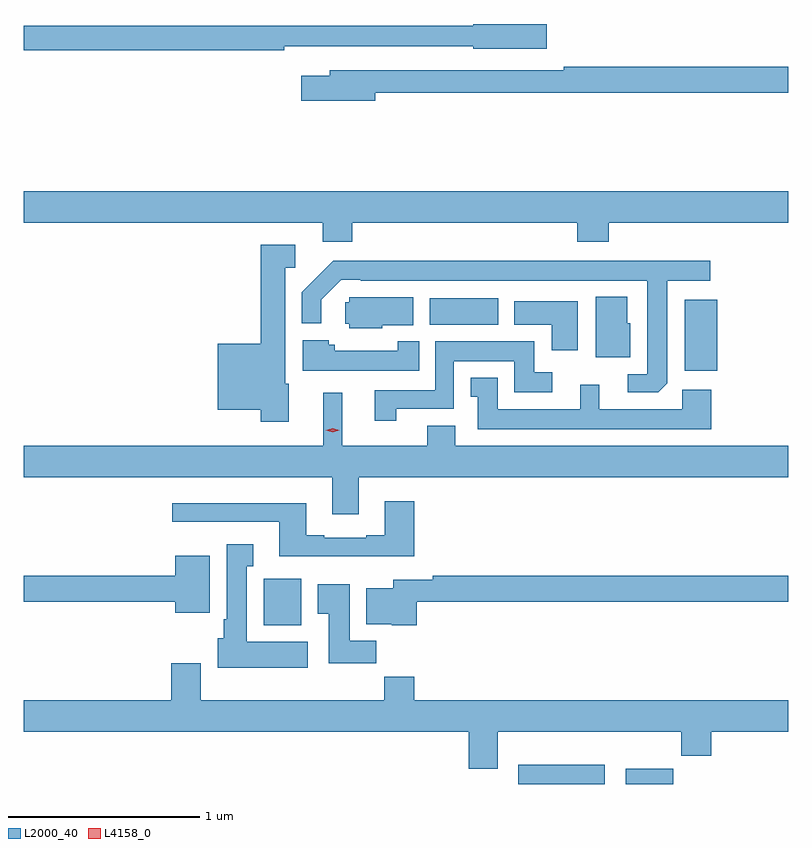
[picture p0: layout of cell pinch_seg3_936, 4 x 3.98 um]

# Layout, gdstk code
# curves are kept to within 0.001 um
import gdstk
lib = gdstk.Library(unit=1e-6, precision=1e-09)
def R(c, l, rs):  # rectangles x0, y0, x1, y1
    for r in rs: c.add(gdstk.rectangle(r[:2], r[2:], *l))
def P(c, l, *ps):  # polygons
    for p in ps: c.add(gdstk.Polygon(p, *l))
L2000_40 = (2000, 40)
L4158_0 = (4158, 0)

pinch_seg3_936 = lib.new_cell('pinch_seg3_936')
R(pinch_seg3_936, L2000_40, [(556.526,733.943,556.978,734.044), (557.087,733.943,557.336,734.023), (555.194,734.774,555.391,735.016), (557.396,736.106,557.567,736.477), (556.061,736.346,556.42,736.483)])
P(pinch_seg3_936, L2000_40, [(555.302,737.802),(556.29,737.802),(556.29,737.789),(556.675,737.789),(556.675,737.919),(556.29,737.919),(556.29,737.911),(553.938,737.911),(553.938,737.782),(555.302,737.782)],
  [(555.778,737.56),(557.938,737.56),(557.938,737.696),(556.762,737.696),(556.762,737.676),(555.539,737.676),(555.539,737.647),(555.39,737.647),(555.39,737.518),(555.778,737.518)],
  [(555.656,736.88),(556.835,736.88),(556.835,736.781),(557,736.781),(557,736.88),(557.938,736.88),(557.938,737.044),(553.938,737.044),(553.938,736.88),(555.503,736.88),(555.503,736.781),(555.656,736.781)],
  [(555.325,736.038),(555.307,736.038),(555.307,736.644),(555.358,736.644),(555.358,736.765),(555.179,736.765),(555.179,736.246),(554.954,736.246),(554.954,735.902),(555.179,735.902),(555.179,735.837),(555.325,735.837)],
  [(557.304,736.039),(557.305,736.577),(557.53,736.577),(557.53,736.681),(555.558,736.681),(555.393,736.516),(555.393,736.353),(555.495,736.353),(555.495,736.476),(555.6,736.581),(555.7,736.581),(555.7,736.577),(557.201,736.577),(557.201,736.086),(557.097,736.086),(557.097,735.993),(557.258,735.993)],
  [(557.11,736.353),(557.095,736.353),(557.095,736.492),(556.931,736.492),(556.931,736.176),(557.11,736.176)],
  [(555.813,736.343),(555.976,736.343),(555.976,736.489),(555.642,736.489),(555.642,736.464),(555.621,736.464),(555.621,736.35),(555.642,736.35),(555.642,736.328),(555.813,736.328)],
  [(556.837,736.468),(556.505,736.468),(556.505,736.346),(556.7,736.346),(556.7,736.212),(556.837,736.212)],
  [(556.007,736.258),(555.896,736.258),(555.896,736.21),(555.564,736.21),(555.564,736.242),(555.534,736.242),(555.534,736.264),(555.398,736.264),(555.398,736.106),(556.007,736.106)],
  [(555.887,735.906),(556.188,735.906),(556.188,736.154),(556.505,736.154),(556.505,735.992),(556.702,735.992),(556.702,736.096),(556.609,736.096),(556.609,736.258),(556.092,736.258),(556.092,736.002),(555.774,736.002),(555.774,735.843),(555.887,735.843)],
  [(557.534,736.006),(557.382,736.006),(557.382,735.904),(556.948,735.904),(556.948,736.033),(556.85,736.033),(556.85,735.904),(556.417,735.904),(556.417,736.069),(556.277,736.069),(556.277,735.969),(556.313,735.969),(556.313,735.8),(557.534,735.8)],
  [(555.691,735.548),(557.938,735.548),(557.938,735.712),(556.195,735.712),(556.195,735.817),(556.048,735.817),(556.048,735.712),(555.604,735.712),(555.604,735.991),(555.506,735.991),(555.506,735.712),(553.938,735.712),(553.938,735.548),(555.551,735.548),(555.551,735.354),(555.691,735.354)],
  [(555.98,735.421),(555.827,735.421),(555.827,735.244),(555.731,735.244),(555.731,735.231),(555.511,735.231),(555.511,735.244),(555.415,735.244),(555.415,735.412),(554.715,735.412),(554.715,735.315),(555.275,735.315),(555.275,735.134),(555.98,735.134)],
  [(555.424,734.686),(555.106,734.686),(555.106,735.083),(555.139,735.083),(555.139,735.196),(554.999,735.196),(554.999,734.806),(554.984,734.806),(554.984,734.706),(554.954,734.706),(554.954,734.552),(555.424,734.552)],
  [(554.911,735.136),(554.732,735.136),(554.732,735.032),(553.938,735.032),(553.938,734.896),(554.732,734.896),(554.732,734.84),(554.911,734.84)],
  [(555.995,734.896),(557.938,734.896),(557.938,735.032),(556.078,735.032),(556.078,735.012),(555.872,735.012),(555.872,734.968),(555.731,734.968),(555.731,734.78),(555.864,734.78),(555.864,734.774),(555.995,734.774)],
  [(555.782,734.692),(555.643,734.692),(555.643,734.989),(555.476,734.989),(555.476,734.833),(555.533,734.833),(555.533,734.574),(555.782,734.574)],
  [(556.417,734.216),(557.377,734.216),(557.377,734.092),(557.534,734.092),(557.534,734.216),(557.938,734.216),(557.938,734.38),(555.98,734.38),(555.98,734.504),(555.823,734.504),(555.823,734.38),(554.863,734.38),(554.863,734.575),(554.711,734.575),(554.711,734.38),(553.938,734.38),(553.938,734.216),(556.265,734.216),(556.265,734.022),(556.417,734.022)])
P(pinch_seg3_936, L4158_0, [(555.555,735.784),(555.519,735.794),(555.519,735.794),(555.519,735.794),(555.555,735.804),(555.59,735.794),(555.59,735.794),(555.59,735.794)])

lib.write_gds('pinch_seg3_936.gds')
